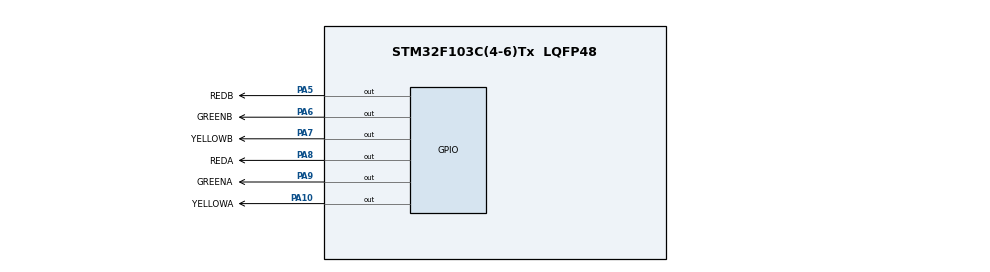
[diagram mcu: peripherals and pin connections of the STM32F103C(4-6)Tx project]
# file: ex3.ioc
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Mcu.Family=STM32F1
Mcu.Name=STM32F103C(4-6)Tx
Mcu.Package=LQFP48
NVIC.PriorityGroup=NVIC_PRIORITYGROUP_4
PA10.GPIO_Label=YELLOWA
PA10.Signal=GPIO_Output
PA5.GPIO_Label=REDB
PA5.Signal=GPIO_Output
PA6.GPIO_Label=GREENB
PA6.Signal=GPIO_Output
PA7.GPIO_Label=YELLOWB
PA7.Signal=GPIO_Output
PA8.GPIO_Label=REDA
PA8.Signal=GPIO_Output
PA9.GPIO_Label=GREENA
PA9.Signal=GPIO_Output
ProjectManager.HeapSize=0x200
ProjectManager.StackSize=0x400
ProjectManager.TargetToolchain=STM32CubeIDE
RCC.APB1Freq_Value=8000000
RCC.APB2Freq_Value=8000000
VP_SYS_VS_ND.Mode=No_Debug
board=custom

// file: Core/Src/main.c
/* USER CODE BEGIN Header */
/**
  ******************************************************************************
  * @file           : main.c
  * @brief          : Main program body
  ******************************************************************************
  * @attention
  *
  * <h2><center>&copy; Copyright (c) 2022 STMicroelectronics.
  * All rights reserved.</center></h2>
  *
  * This software component is licensed by ST under BSD 3-Clause license,
  * the "License"; You may not use this file except in compliance with the
  * License. You may obtain a copy of the License at:
  *                        opensource.org/licenses/BSD-3-Clause
  *
  ******************************************************************************
  */
/* USER CODE END Header */
#include "main.h"

void SystemClock_Config(void);
static void MX_GPIO_Init(void);

int main(void)
{

  /* MCU Configuration--------------------------------------------------------*/

  /* Reset of all peripherals, Initializes the Flash interface and the Systick. */
  HAL_Init();

  /* Configure the system clock */
  SystemClock_Config();

  /* Initialize all configured peripherals */
  MX_GPIO_Init();

  /* Infinite loop */
  /* USER CODE BEGIN WHILE */

  //initial for group1
  int Yellow_Count_Group1 = 3;// yellow-led turn on 2 seconds
  int Red_Count_Group1 = 6;// red-led turn on 5 seconds
  int Green_Count_Group1 = 4;// green-led turn on 3 seconds

  int Yellow_Status_Group1 = 0;//yellow-led off
  int Red_Status_Group1 = 0;//red-led off
  int Green_Status_Group1 = 1;// green-led is turn on

  //initial for group2
  int Yellow_Count_Group2 = 3;;// yellow-led turn on 2 seconds
  int Red_Count_Group2 = 6;// red-led turn on 5 seconds
  int Green_Count_Group2 = 4;// green-led turn on 3 seconds

  int Yellow_Status_Group2 = 0;//yellow-led off
  int Red_Status_Group2 = 1;// red-led is turn on
  int Green_Status_Group2 = 0;//green-led off

  while (1)
  {
    /* USER CODE END WHILE */

    /* USER CODE BEGIN 3 */

	  //-------begin group1 ( group horizontal)--------
	  // in group1, green-led bright first

	  //green-led will turn on in 3 seconds untill green-status=0
	  if(Green_Status_Group1 == 1)
	  {
		  Green_Count_Group1 --;
		  HAL_GPIO_WritePin(GREENA_GPIO_Port, GREENA_Pin, GPIO_PIN_SET);

		  if(Green_Count_Group1 == 0)
		  {
			 Green_Status_Group1 = 0;// green-led turn off
			 Green_Count_Group1 = 3;// update time of green-led
			 HAL_GPIO_WritePin(GREENA_GPIO_Port, GREENA_Pin, GPIO_PIN_RESET);
			 Yellow_Status_Group1 = 1;//yellow-led turn on
		  }
	  }

	  // yellow-led will turn on in 2 seconds untill yellow-status=0
	  if(Yellow_Status_Group1 == 1)
	  {
		  Yellow_Count_Group1 --;
		  HAL_GPIO_WritePin(YELLOWA_GPIO_Port, YELLOWA_Pin, GPIO_PIN_SET);

		  if(Yellow_Count_Group1 == 0)
		  {
			  Yellow_Status_Group1 = 0;// yellow-led turn off
			  Yellow_Count_Group1 = 3;// update time of yellow-led
			  HAL_GPIO_WritePin(YELLOWA_GPIO_Port, YELLOWA_Pin, GPIO_PIN_RESET);
			  Red_Status_Group1 = 1;// red-led turn on
		  }
	  }

	  // red-led will turn on in 5 seconds untill red-status=0
	  if(Red_Status_Group1 == 1)
	  {
		  Red_Count_Group1 --;
		  HAL_GPIO_WritePin(REDA_GPIO_Port, REDA_Pin, GPIO_PIN_SET);

		  if(Red_Count_Group1 == 0)
		  {
			  Red_Status_Group1 = 0;// red-led turn off
			  Red_Count_Group1 = 6;// update time of red-led
			  HAL_GPIO_WritePin(REDA_GPIO_Port, REDA_Pin, GPIO_PIN_RESET);

			  HAL_GPIO_WritePin(GREENA_GPIO_Port, GREENA_Pin, GPIO_PIN_SET);
			  Green_Status_Group1 = 1;// green-led turn on
		  }
	  }
	  //---------end group1 ( group horizontal)----------

	  //-------begin group2 ( group vertical)-----------
	  // in group2, red-led bright first

	  // red-led will turn on in 5 seconds untill red-status=0
	  if(Red_Status_Group2 == 1)
	  {
		  Red_Count_Group2 --;
		  HAL_GPIO_WritePin(REDB_GPIO_Port, REDB_Pin, GPIO_PIN_SET);

		  if(Red_Count_Group2 == 0)
		  {
			 Red_Status_Group2 = 0;// red-led turn off
			 Red_Count_Group2 = 5;// update time of red-led
			 HAL_GPIO_WritePin(REDB_GPIO_Port, REDB_Pin, GPIO_PIN_RESET);
			 Green_Status_Group2 = 1;// green-led turn on
		  }
	  }

	  //green-led will turn on in 3 seconds untill green-status=0
	  if(Green_Status_Group2 == 1)
	  {
		  Green_Count_Group2 --;
		  HAL_GPIO_WritePin(GREENB_GPIO_Port, GREENB_Pin, GPIO_PIN_SET);

		  if(Green_Count_Group2 == 0)
		  {
			 Green_Status_Group2 = 0;// green-led turn off
			 Green_Count_Group2 = 4;// update time of green-led
			 HAL_GPIO_WritePin(GREENB_GPIO_Port, GREENB_Pin, GPIO_PIN_RESET);
			 Yellow_Status_Group2 = 1;//yellow-led turn on
		  }
	  }

	  //yellow-led will turn on in 3 seconds untill yellow-status=0
	  if(Yellow_Status_Group2 == 1)
	  {
		  Yellow_Count_Group2 --;
		  HAL_GPIO_WritePin(YELLOWB_GPIO_Port, YELLOWB_Pin, GPIO_PIN_SET);

		  if(Yellow_Count_Group2 == 0)
		  {
			  Yellow_Status_Group2 = 0;// yellow-led turn off
			  Yellow_Count_Group2 = 3;// update time of yellow-led
			  HAL_GPIO_WritePin(YELLOWB_GPIO_Port, YELLOWB_Pin, GPIO_PIN_RESET);

			  HAL_GPIO_WritePin(REDB_GPIO_Port, REDB_Pin, GPIO_PIN_SET);
			  Red_Status_Group2 = 1;// red-led turn on
		  }
	  }
	  //---------end group2 ( group vertical)-------------

	  HAL_Delay(1000);

  }
  /* USER CODE END 3 */
}

void SystemClock_Config(void)
{
  RCC_OscInitTypeDef RCC_OscInitStruct = {0};
  RCC_ClkInitTypeDef RCC_ClkInitStruct = {0};

  /** Initializes the RCC Oscillators according to the specified parameters
  * in the RCC_OscInitTypeDef structure.
  */
  RCC_OscInitStruct.OscillatorType = RCC_OSCILLATORTYPE_HSI;
  RCC_OscInitStruct.HSIState = RCC_HSI_ON;
  RCC_OscInitStruct.HSICalibrationValue = RCC_HSICALIBRATION_DEFAULT;
  RCC_OscInitStruct.PLL.PLLState = RCC_PLL_NONE;
  if (HAL_RCC_OscConfig(&RCC_OscInitStruct) != HAL_OK)
  {
    Error_Handler();
  }
  /** Initializes the CPU, AHB and APB buses clocks
  */
  RCC_ClkInitStruct.ClockType = RCC_CLOCKTYPE_HCLK|RCC_CLOCKTYPE_SYSCLK
                              |RCC_CLOCKTYPE_PCLK1|RCC_CLOCKTYPE_PCLK2;
  RCC_ClkInitStruct.SYSCLKSource = RCC_SYSCLKSOURCE_HSI;
  RCC_ClkInitStruct.AHBCLKDivider = RCC_SYSCLK_DIV1;
  RCC_ClkInitStruct.APB1CLKDivider = RCC_HCLK_DIV1;
  RCC_ClkInitStruct.APB2CLKDivider = RCC_HCLK_DIV1;

  if (HAL_RCC_ClockConfig(&RCC_ClkInitStruct, FLASH_LATENCY_0) != HAL_OK)
  {
    Error_Handler();
  }
}

static void MX_GPIO_Init(void)
{
  GPIO_InitTypeDef GPIO_InitStruct = {0};

  /* GPIO Ports Clock Enable */
  __HAL_RCC_GPIOA_CLK_ENABLE();

  /*Configure GPIO pin Output Level */
  HAL_GPIO_WritePin(GPIOA, REDB_Pin|GREENB_Pin|YELLOWB_Pin|REDA_Pin
                          |GREENA_Pin|YELLOWA_Pin, GPIO_PIN_RESET);

  /*Configure GPIO pins : REDB_Pin GREENB_Pin YELLOWB_Pin REDA_Pin
                           GREENA_Pin YELLOWA_Pin */
  GPIO_InitStruct.Pin = REDB_Pin|GREENB_Pin|YELLOWB_Pin|REDA_Pin
                          |GREENA_Pin|YELLOWA_Pin;
  GPIO_InitStruct.Mode = GPIO_MODE_OUTPUT_PP;
  GPIO_InitStruct.Pull = GPIO_NOPULL;
  GPIO_InitStruct.Speed = GPIO_SPEED_FREQ_LOW;
  HAL_GPIO_Init(GPIOA, &GPIO_InitStruct);

}

void Error_Handler(void)
{
  __disable_irq();
  while (1)
  {
  }
}

/************************ (C) COPYRIGHT STMicroelectronics *****END OF FILE****/
